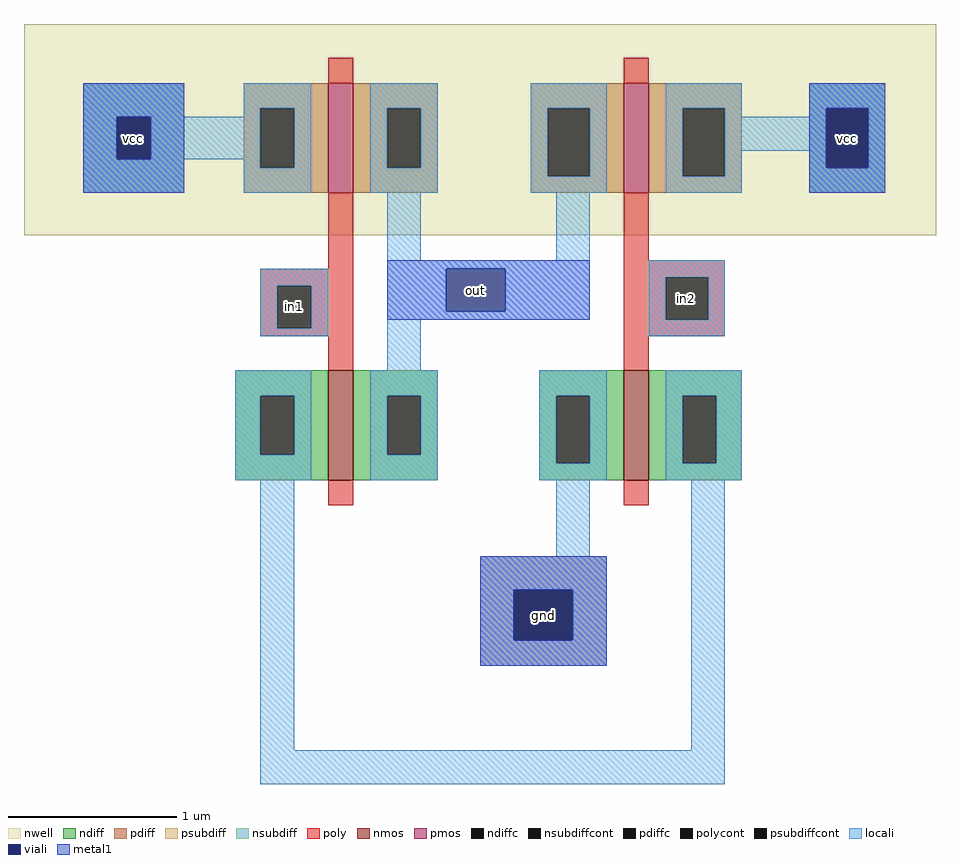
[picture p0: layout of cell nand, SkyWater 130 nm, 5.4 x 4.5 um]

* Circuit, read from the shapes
.subckt nand gnd in1 in2 out vcc
XM1 out in1 n1 gnd sky130_fd_pr__nfet_01v8 w=0.65 l=0.15
XM2 n1 in2 gnd gnd sky130_fd_pr__nfet_01v8 w=0.65 l=0.15
XM3 out in1 vcc vcc sky130_fd_pr__pfet_01v8 w=0.65 l=0.15
XM4 vcc in2 out vcc sky130_fd_pr__pfet_01v8 w=0.65 l=0.15
.ends

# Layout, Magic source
magic #  THIS IS NAND GATE!!
tech sky130A
<< nwell >>
rect -225 -20 315 105
<< nmos >>
rect -45 -165 -30 -100
rect 130 -165 145 -100
<< pmos >>
rect -45 5 -30 70
rect 130 5 145 70
<< ndiff >>
rect -100 -115 -45 -100
rect -100 -150 -85 -115
rect -65 -150 -45 -115
rect -100 -165 -45 -150
rect -30 -115 20 -100
rect -30 -150 -10 -115
rect 10 -150 20 -115
rect -30 -165 20 -150
rect 80 -115 130 -100
rect 80 -155 90 -115
rect 110 -155 130 -115
rect 80 -165 130 -155
rect 145 -115 200 -100
rect 145 -155 165 -115
rect 185 -155 200 -115
rect 145 -165 200 -155
<< pdiff >>
rect -95 55 -45 70
rect -95 20 -85 55
rect -65 20 -45 55
rect -95 5 -45 20
rect -30 55 20 70
rect -30 20 -10 55
rect 10 20 20 55
rect -30 5 20 20
rect 75 55 130 70
rect 75 15 85 55
rect 110 15 130 55
rect 75 5 130 15
rect 145 55 200 70
rect 145 15 165 55
rect 190 15 200 55
rect 145 5 200 15
<< ndiffc >>
rect -85 -150 -65 -115
rect -10 -150 10 -115
rect 90 -155 110 -115
rect 165 -155 185 -115
<< pdiffc >>
rect -85 20 -65 55
rect -10 20 10 55
rect 85 15 110 55
rect 165 15 190 55
<< psubdiff >>
rect 45 -230 120 -210
rect 45 -260 65 -230
rect 100 -260 120 -230
rect 45 -275 120 -260
<< nsubdiff >>
rect -190 50 -130 70
rect -190 25 -170 50
rect -150 25 -130 50
rect -190 5 -130 25
rect 240 55 285 70
rect 240 20 250 55
rect 275 20 285 55
rect 240 5 285 20
<< psubdiffcont >>
rect 65 -260 100 -230
<< nsubdiffcont >>
rect -170 25 -150 50
rect 250 20 275 55
<< poly >>
rect -45 70 -30 85
rect 130 70 145 85
rect -45 -40 -30 5
rect -85 -50 -30 -40
rect -85 -75 -75 -50
rect -55 -75 -30 -50
rect -85 -80 -30 -75
rect -45 -100 -30 -80
rect 130 -35 145 5
rect 130 -45 190 -35
rect 130 -70 155 -45
rect 180 -70 190 -45
rect 130 -80 190 -70
rect 130 -100 145 -80
rect -45 -180 -30 -165
rect 130 -180 145 -165
<< polycont >>
rect -75 -75 -55 -50
rect 155 -70 180 -45
<< locali >>
rect -190 50 -130 70
rect -95 55 -55 70
rect -95 50 -85 55
rect -190 25 -170 50
rect -150 25 -85 50
rect -190 5 -130 25
rect -95 20 -85 25
rect -65 20 -55 55
rect -95 5 -55 20
rect -20 55 20 70
rect -20 20 -10 55
rect 10 20 20 55
rect -20 5 20 20
rect 75 55 120 70
rect 75 15 85 55
rect 110 15 120 55
rect 75 5 120 15
rect 155 55 200 70
rect 155 15 165 55
rect 190 50 200 55
rect 240 55 285 70
rect 240 50 250 55
rect 190 30 250 50
rect 190 15 200 30
rect 155 5 200 15
rect 240 20 250 30
rect 275 20 285 55
rect 240 5 285 20
rect -10 -35 10 5
rect 90 -35 110 5
rect -10 -40 110 -35
rect -85 -50 -45 -40
rect -85 -75 -75 -50
rect -55 -75 -45 -50
rect -85 -80 -45 -75
rect -10 -65 25 -40
rect 60 -65 110 -40
rect -10 -70 110 -65
rect 145 -45 190 -35
rect 145 -70 155 -45
rect 180 -70 190 -45
rect -10 -100 10 -70
rect 145 -80 190 -70
rect -100 -115 -55 -100
rect -100 -150 -85 -115
rect -65 -150 -55 -115
rect -100 -165 -55 -150
rect -20 -115 20 -100
rect -20 -150 -10 -115
rect 10 -150 20 -115
rect -20 -165 20 -150
rect 80 -115 120 -100
rect 80 -155 90 -115
rect 110 -155 120 -115
rect 80 -165 120 -155
rect 155 -115 200 -100
rect 155 -155 165 -115
rect 185 -155 200 -115
rect 155 -165 200 -155
rect -85 -325 -65 -165
rect 90 -210 110 -165
rect 45 -230 120 -210
rect 45 -260 65 -230
rect 100 -260 120 -230
rect 45 -275 120 -260
rect 170 -325 190 -165
rect -85 -345 190 -325
<< viali >>
rect -170 25 -150 50
rect 250 20 275 55
rect 25 -65 60 -40
rect 65 -260 100 -230
<< metal1 >>
rect -190 50 -130 70
rect -190 25 -170 50
rect -150 25 -130 50
rect -190 5 -130 25
rect 240 55 285 70
rect 240 20 250 55
rect 275 20 285 55
rect 240 5 285 20
rect -10 -40 110 -35
rect -10 -65 25 -40
rect 60 -65 110 -40
rect -10 -70 110 -65
rect 45 -230 120 -210
rect 45 -260 65 -230
rect 100 -260 120 -230
rect 45 -275 120 -260
<< labels >>
rlabel polycont -75 -75 -55 -50 1 in1
rlabel polycont 155 -70 180 -45 1 in2
rlabel metal1 65 -260 100 -230 1 gnd
rlabel nwell -170 25 -150 50 1 vcc
rlabel nwell 250 20 275 55 1 vcc
rlabel viali 25 -65 60 -40 1 out
<< end >>
